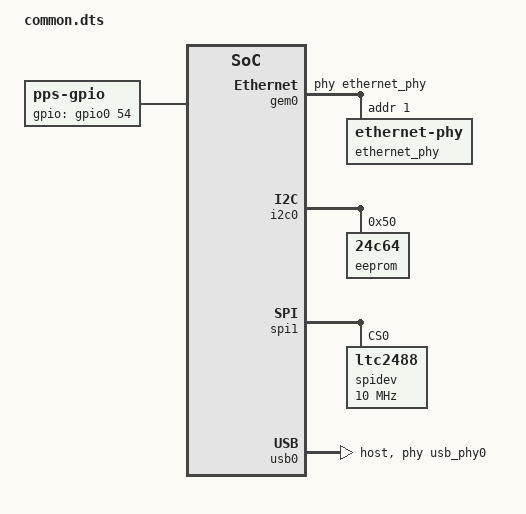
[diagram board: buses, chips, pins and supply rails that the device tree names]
/ {
  usb_phy0: phy0 {
    #phy-cells = <0>;
    compatible = "ulpi-phy";
    reg = <0xe0002000 0x1000>;
    view-port = <0x0170>;
    drv-vbus;
  };
  pps {
    compatible = "pps-gpio";
    gpios = <&gpio0 54 0>;
    capture-clear;
  };
};

&gem0 {
  phy-handle = <&ethernet_phy>;
  ethernet_phy: ethernet-phy@1 {
    reg = <1>;
  };
};

&i2c0 {
  eeprom@50 {
    compatible = "24c64";
    size = <8192>;
    pagesize = <32>;
    reg = <0x50>;
  };
};

&spi1 {
  spidev@0 {
    compatible = "ltc2488";
    reg = <0x0>;
    spi-max-frequency = <10000000>;
  };
};

&usb0 {
  dr_mode = "host";
  usb-phy = <&usb_phy0>;
  xlnx,phy-reset-gpio = <&gpio0 48 0>;
};

&adc {
  xlnx,channels {
    #address-cells = <1>;
    #size-cells = <0>;
    channel@0 {
      reg = <0>;
    };
    channel@1 {
      reg = <1>;
    };
    channel@2 {
      reg = <2>;
    };
    channel@9 {
      reg = <9>;
    };
    channel@10 {
      reg = <10>;
    };
  };
};
